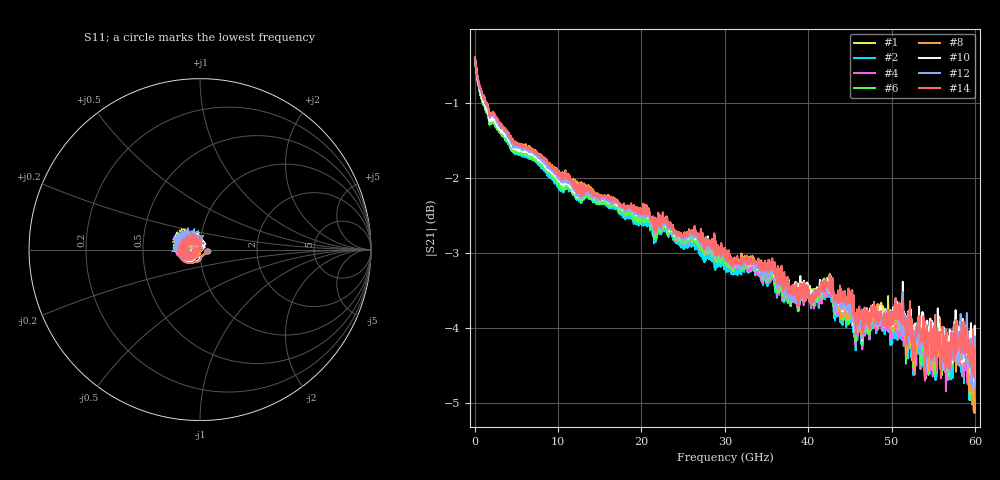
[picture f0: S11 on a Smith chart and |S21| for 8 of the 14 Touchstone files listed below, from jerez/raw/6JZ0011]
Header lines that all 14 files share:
! File created by 'SoftPlot +Plus+ Measurement Management Software'
! SoftPlot +Plus+ Measurement Management Software
! Start 40.000000 MHz  Stop 60.000000 GHz  Points 1601
# MHZ S RI R 50
! S-Parameter data, F S11 S21 S12 S22
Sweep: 40 MHz to 60 GHz
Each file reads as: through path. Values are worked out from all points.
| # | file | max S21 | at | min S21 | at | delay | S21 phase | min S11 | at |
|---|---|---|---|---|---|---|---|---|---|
| 1 | 6JZ0011_ALD_00.s2p | -0.46 dB | 40 MHz | -4.9 dB | 59.85 GHz | 60.4 ps | 60 deg at 30.02 GHz | -35.0 dB | 58.35 GHz |
| 2 | 6JZ0011_ALD_04.s2p | -0.44 dB | 40 MHz | -5.0 dB | 59.66 GHz | 60.5 ps | 59 deg at 30.02 GHz | -47.1 dB | 58.46 GHz |
| 3 | 6JZ0011_ALD_05.s2p | -0.42 dB | 77.47 MHz | -4.9 dB | 59.66 GHz | 59.9 ps | 66 deg at 30.02 GHz | -45.6 dB | 58.95 GHz |
| 4 | 6JZ0011_ALD_06.s2p | -0.43 dB | 40 MHz | -5.1 dB | 59.85 GHz | 59.8 ps | 66 deg at 30.02 GHz | -44.7 dB | 58.76 GHz |
| 5 | 6JZ0011_ALD_08.s2p | -0.43 dB | 40 MHz | -5.0 dB | 59.4 GHz | 60.1 ps | 64 deg at 30.02 GHz | -38.9 dB | 59.33 GHz |
| 6 | 6JZ0011_ALD_10.s2p | -0.42 dB | 40 MHz | -5.0 dB | 59.4 GHz | 60.1 ps | 64 deg at 30.02 GHz | -41.4 dB | 59.85 GHz |
| 7 | 6JZ0011_ALD_13.s2p | -0.42 dB | 40 MHz | -4.7 dB | 55.99 GHz | 59.8 ps | 67 deg at 30.02 GHz | -48.8 dB | 59.4 GHz |
| 8 | 6JZ0011_ALD_14.s2p | -0.39 dB | 40 MHz | -5.1 dB | 59.93 GHz | 59.8 ps | 67 deg at 30.02 GHz | -48.0 dB | 58.65 GHz |
| 9 | 6JZ0011_noALD_04.s2p | -0.45 dB | 40 MHz | -5.0 dB | 59.33 GHz | 60.1 ps | 65 deg at 30.02 GHz | -59.5 dB | 42.69 GHz |
| 10 | 6JZ0011_noALD_05.s2p | -0.42 dB | 40 MHz | -4.7 dB | 59.74 GHz | 59.5 ps | 70 deg at 30.02 GHz | -44.9 dB | 59.59 GHz |
| 11 | 6JZ0011_noALD_06.s2p | -0.41 dB | 40 MHz | -4.9 dB | 55.99 GHz | 59.5 ps | 70 deg at 30.02 GHz | -46.9 dB | 59.66 GHz |
| 12 | 6JZ0011_noALD_08.s2p | -0.42 dB | 40 MHz | -4.8 dB | 59.66 GHz | 59.6 ps | 69 deg at 30.02 GHz | -41.7 dB | 42.69 GHz |
| 13 | 6JZ0011_noALD_13.s2p | -0.41 dB | 40 MHz | -4.5 dB | 59.74 GHz | 59.4 ps | 72 deg at 30.02 GHz | -57.5 dB | 17.17 GHz |
| 14 | 6JZ0011_noALD_14.s2p | -0.41 dB | 40 MHz | -4.6 dB | 54 GHz | 59.3 ps | 72 deg at 30.02 GHz | -45.2 dB | 59.7 GHz |
